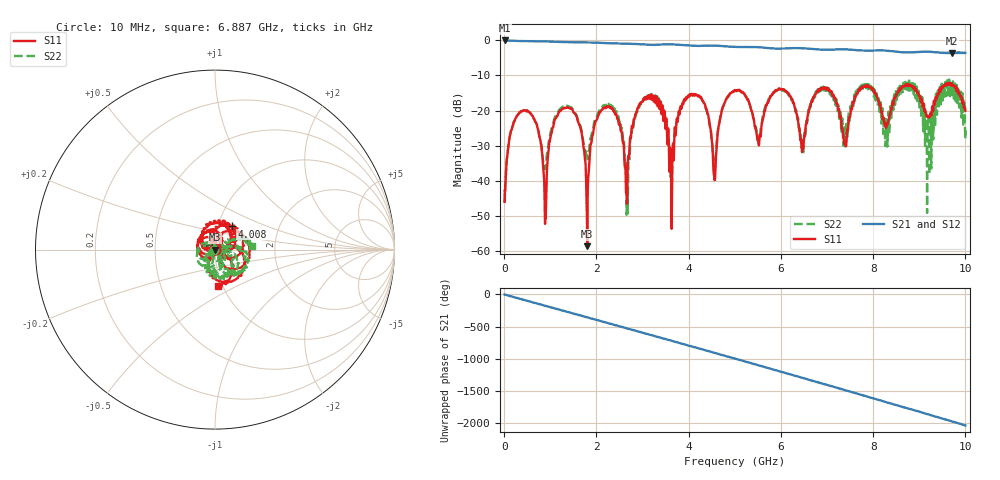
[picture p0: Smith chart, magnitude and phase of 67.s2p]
!Keysight Technologies,E5080B,MY59205177,A.15.75.32
!Date: Friday, February 23, 2024 03:32:09
!Correction: S11(Cdelta 2-Port  )
!S21(Cdelta 2-Port  )
!S12(Cdelta 2-Port  )
!S22(Cdelta 2-Port  )
!S2P File: Measurements: S11, S21, S12, S22:
# Hz S  dB  R 50
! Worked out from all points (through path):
!   10001 points, 10 MHz to 10 GHz, reference 50 ohm
!   highest |S21| = -0.01 dB at 10 MHz (marker M1); lowest = -3.7 dB at 9.701 GHz (marker M2)
!   group delay of S21, straight-line fit = 565 ps
!   lowest |S11| = -58.7 dB at 1.801 GHz (marker M3), VSWR 1.00, Z = 50 - j0.114 ohm
!   |S11| at or under -10 dB: start of sweep to end of sweep
!   |S22| runs from -49.7 to -11.2 dB; largest |S21 - S12| = 0.0016
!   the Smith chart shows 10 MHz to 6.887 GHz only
!   S11 on the Smith chart (normalised r, x): 10 MHz: 1.01, -0.00; 4.008 GHz: 1.16, +0.31; 6.887 GHz: 0.94, -0.40
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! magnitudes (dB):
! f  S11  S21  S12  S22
! 10 MHz  -46.0  0.0  0.0  -46.0
! 373.6 MHz  -20.2  -0.2  -0.2  -20.1
! 888.1 MHz  -51.5  -0.3  -0.3  -36.5
! 1.18 GHz  -20.7  -0.4  -0.4  -20.1
! 1.675 GHz  -26.0  -0.5  -0.5  -25.5
! 1.801 GHz  -58.7  -0.5  -0.5  -32.9
! 2.11 GHz  -19.9  -0.7  -0.7  -19.0
! 2.662 GHz  -46.3  -0.9  -0.9  -43.9
! 2.906 GHz  -19.3  -1.1  -1.1  -18.8
! 3.341 GHz  -17.5  -1.2  -1.2  -17.7
! 3.627 GHz  -46.8  -1.1  -1.1  -42.3
! 4.008 GHz  -16.0  -1.4  -1.4  -15.8
! 4.561 GHz  -39.5  -1.5  -1.5  -38.7
! 5.005 GHz  -14.1  -1.8  -1.8  -14.5
! 5.517 GHz  -29.6  -1.9  -1.9  -28.6
! 6.67 GHz  -17.3  -2.4  -2.4  -16.9
! 6.887 GHz  -13.7  -2.6  -2.6  -13.6
! 7.384 GHz  -29.7  -2.6  -2.6  -25.8
! 7.796 GHz  -13.1  -2.9  -2.9  -12.9
! 8.336 GHz  -22.7  -3.0  -3.0  -20.8
! 9.701 GHz  -12.2  -3.7  -3.7  -13.8
! 10 GHz  -20.1  -3.6  -3.6  -25.7
